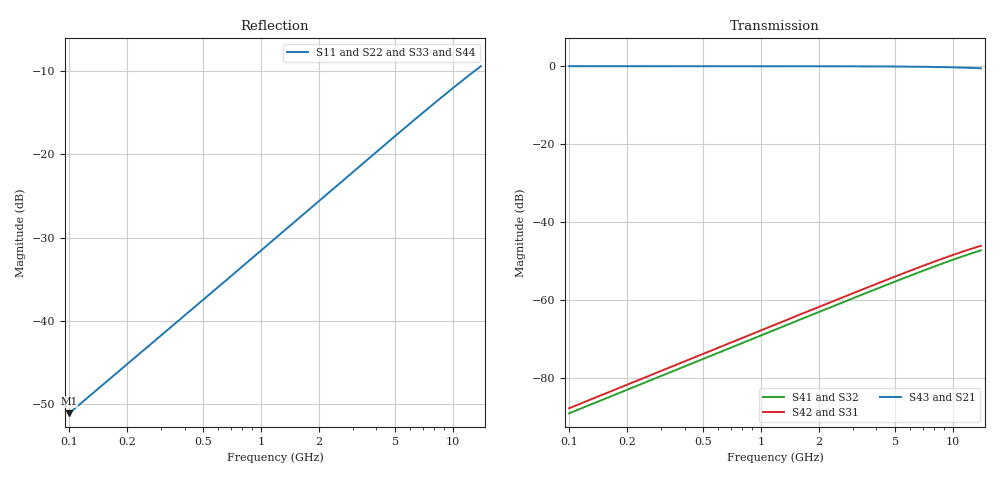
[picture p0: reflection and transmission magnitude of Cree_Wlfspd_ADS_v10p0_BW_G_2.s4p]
! AWR Design Environment (9226) Fri Apr 12 11:08:26 2019
! Document = 'BW_G_2'
! nPorts: 4, nXvals: 319
# GHz S DB R 50
!Freq DBS11 AngS11 DBS12 AngS12 DBS13 AngS13 DBS14 AngS14
!	DBS21 AngS21 DBS22 AngS22 DBS23 AngS23 DBS24 AngS24
!	DBS31 AngS31 DBS32 AngS32 DBS33 AngS33 DBS34 AngS34
!	DBS41 AngS41 DBS42 AngS42 DBS43 AngS43 DBS44 AngS44
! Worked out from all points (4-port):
!   319 points, 100 MHz to 14 GHz, reference 50 ohm
!   strongest paths, dB at 100 MHz, 695 MHz, 1.19 GHz, 1.99 GHz, 14 GHz:
!     S43: 0.0, 0.0, 0.0, 0.0, -0.6
!     S21: 0.0, 0.0, 0.0, 0.0, -0.6
!     S42: -87.8, -70.9, -66.3, -61.8, -46.1
!     S31: -87.8, -70.9, -66.3, -61.8, -46.1
!     S41: -89.1, -72.2, -67.6, -63.1, -47.3
!     S32: -89.1, -72.2, -67.6, -63.1, -47.3
!   lowest |S11| = -51.1 dB at 100 MHz (marker M1), VSWR 1.01, Z = 50 + j0.277 ohm
!   |S11| at or under -10 dB: start of sweep to 13.03 GHz
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0.1  -51.07 81.7  -0.00 -0.2  -87.76 89.7  -89.06 -90.4
     -0.00 -0.2  -51.07 81.7  -89.06 -90.4  -87.76 89.7
     -87.76 89.7  -89.06 -90.4  -51.07 81.7  -0.00 -0.2
     -89.06 -90.4  -87.76 89.7  -0.00 -0.2  -51.07 81.7
0.24  -43.66 85.0  -0.00 -0.4  -80.16 89.2  -81.46 -90.9
      -0.00 -0.4  -43.66 85.0  -81.46 -90.9  -80.16 89.2
      -80.16 89.2  -81.46 -90.9  -43.66 85.0  -0.00 -0.4
      -81.46 -90.9  -80.16 89.2  -0.00 -0.4  -43.66 85.0
0.29  -42.06 85.3  -0.01 -0.5  -78.51 89.1  -79.81 -91.0
      -0.01 -0.5  -42.06 85.3  -79.81 -91.0  -78.51 89.1
      -78.51 89.1  -79.81 -91.0  -42.06 85.3  -0.01 -0.5
      -79.81 -91.0  -78.51 89.1  -0.01 -0.5  -42.06 85.3
1.19  -30.08 86.0  -0.01 -2.1  -66.27 86.4  -67.57 -94.2
      -0.01 -2.1  -30.08 86.0  -67.57 -94.2  -66.27 86.4
      -66.27 86.4  -67.57 -94.2  -30.08 86.0  -0.01 -2.1
      -67.57 -94.2  -66.27 86.4  -0.01 -2.1  -30.08 86.0
3.15  -21.76 83.4  -0.04 -5.4  -57.88 80.6  -59.17 -100.9
      -0.04 -5.4  -21.76 83.4  -59.17 -100.9  -57.88 80.5
      -57.88 80.6  -59.17 -100.9  -21.76 83.4  -0.04 -5.4
      -59.17 -100.9  -57.88 80.5  -0.04 -5.4  -21.76 83.4
7.6  -14.33 76.4  -0.19 -12.8  -50.56 67.7  -51.81 -115.7
     -0.19 -12.8  -14.33 76.4  -51.81 -115.7  -50.55 67.6
     -50.56 67.7  -51.81 -115.7  -14.33 76.4  -0.19 -12.8
     -51.81 -115.7  -50.55 67.6  -0.19 -12.8  -14.33 76.4
14  -9.45 66.5  -0.55 -22.9  -46.11 50.5  -47.25 -135.9
    -0.55 -22.9  -9.45 66.5  -47.25 -135.9  -46.09 50.2
    -46.11 50.5  -47.25 -135.9  -9.45 66.5  -0.55 -22.9
    -47.25 -135.9  -46.09 50.2  -0.55 -22.9  -9.45 66.5
